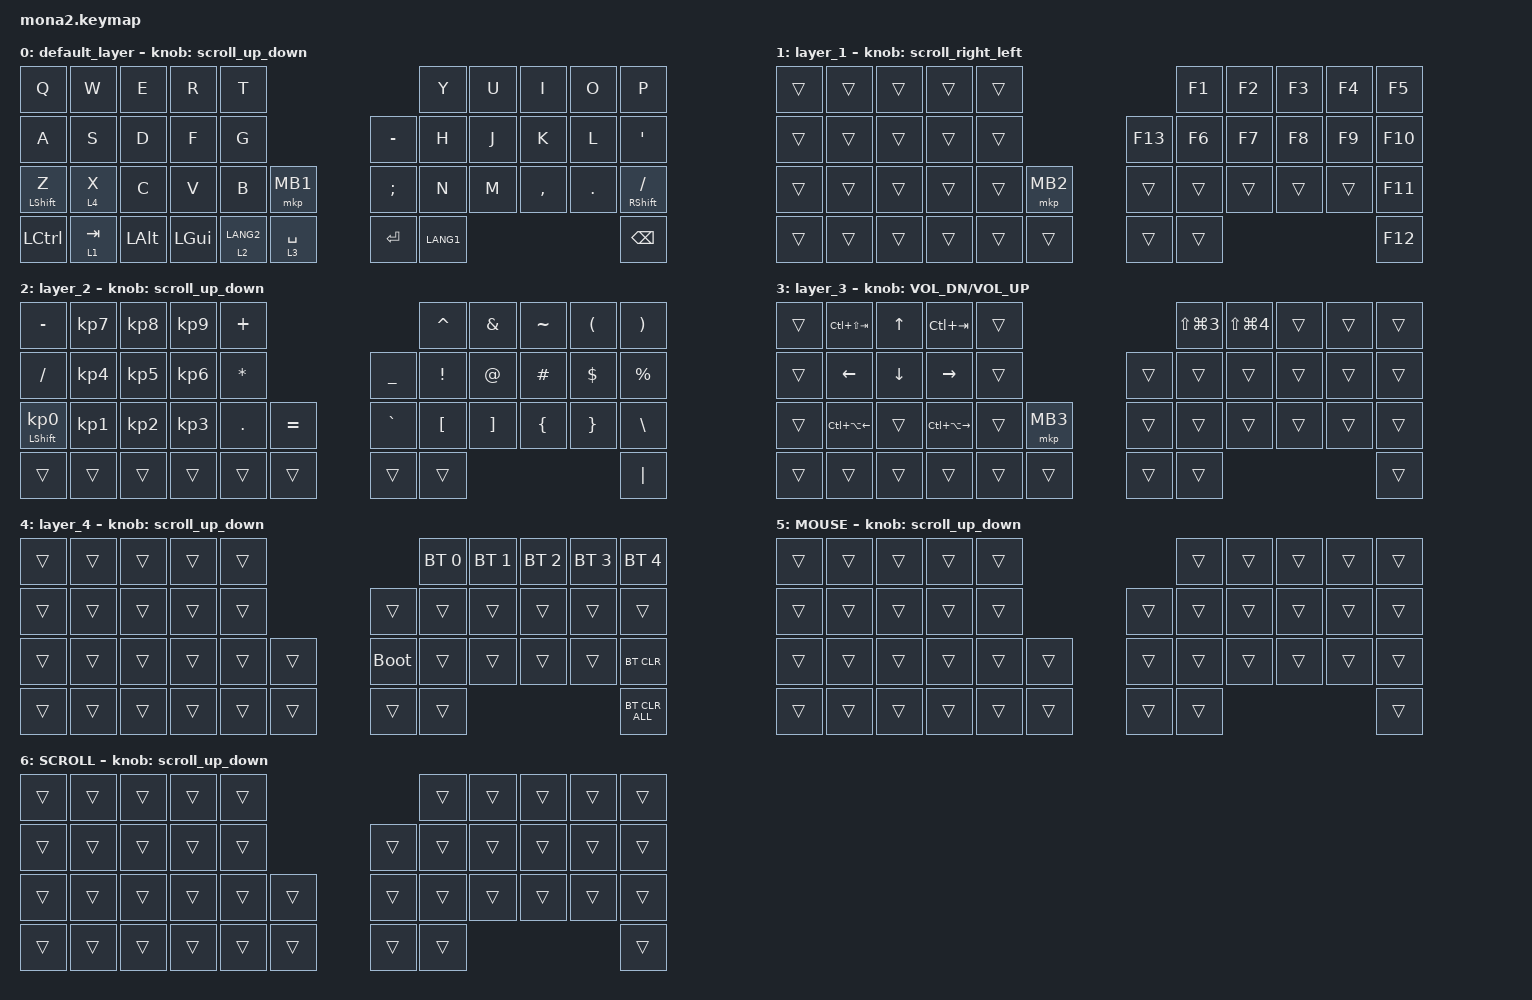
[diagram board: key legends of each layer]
#include <input/processors.dtsi>
#include <dt-bindings/zmk/input_transform.h>
#include <zephyr/dt-bindings/input/input-event-codes.h>
#include <behaviors.dtsi>
#include <dt-bindings/zmk/bt.h>
#include <dt-bindings/zmk/keys.h>
#include <dt-bindings/zmk/pointing.h>

#define ZMK_POINTING_DEFAULT_SCRL_VAL 100
#define MOUSE 5
#define SCROLL 6

&mt {
    flavor = "balanced";
    quick-tap-ms = <0>;
};

&lt {
    quick-tap-ms = <300>;
    flavor = "balanced";
};

/ {
    combos {
        compatible = "zmk,combos";

        layer4_ESC {
            bindings = <&lt 4 ESC>;
            key-positions = <39 38>;
        };

        tab {
            bindings = <&kp TAB>;
            key-positions = <11 12>;
        };
    };

    macros {
        to_layer_0: to_layer_0 {
            compatible = "zmk,behavior-macro-one-param";
            #binding-cells = <1>;
            bindings = <&to 0 &macro_param_1to1 &kp MACRO_PLACEHOLDER>;
            label = "TO_LAYER_0";
        };
    };

    behaviors {
        lt_to_layer_0: lt_to_layer_0 {
            compatible = "zmk,behavior-hold-tap";
            label = "LAYER_TAP_TO_0";
            bindings = <&mo>, <&to_layer_0>;

            #binding-cells = <2>;
            tapping-term-ms = <200>;
        };

        scroll_up_down: mouse_wheel_up_down {
            compatible = "zmk,behavior-sensor-rotate";
            #sensor-binding-cells = <0>;
            bindings = <&msc SCRL_DOWN>, <&msc SCRL_UP>;

            tap-ms = <20>;
        };

        scroll_right_left: mouse_wheel_right_left {
            compatible = "zmk,behavior-sensor-rotate";
            #sensor-binding-cells = <0>;
            bindings = <&msc SCRL_LEFT>, <&msc SCRL_RIGHT>;

            tap-ms = <20>;
        };
    };

    keymap {
        compatible = "zmk,keymap";

        default_layer {
            bindings = <
&kp Q             &kp W      &kp E         &kp R         &kp T                                  &kp Y      &kp U  &kp I      &kp O    &kp P
&kp A             &kp S      &kp D         &kp F         &kp G                       &kp MINUS  &kp H      &kp J  &kp K      &kp L    &kp SQT
&mt LEFT_SHIFT Z  &lt 4 X    &kp C         &kp V         &kp B        &mkp MB1       &kp SEMI   &kp N      &kp M  &kp COMMA  &kp DOT  &mt RIGHT_SHIFT SLASH
&kp LCTRL         &lt 1 TAB  &kp LEFT_ALT  &kp LEFT_GUI  &lt 2 LANG2  &lt 3 SPACE    &kp ENTER  &kp LANG1                             &kp BACKSPACE
            >;

            sensor-bindings = <&scroll_up_down>;
        };

        layer_1 {
            bindings = <
&trans  &trans  &trans  &trans  &trans                       &kp F1  &kp F2  &kp F3  &kp F4  &kp F5
&trans  &trans  &trans  &trans  &trans              &kp F13  &kp F6  &kp F7  &kp F8  &kp F9  &kp F10
&trans  &trans  &trans  &trans  &trans  &mkp MB2    &trans   &trans  &trans  &trans  &trans  &kp F11
&trans  &trans  &trans  &trans  &trans  &trans      &trans   &trans                          &kp F12
            >;

            sensor-bindings = <&scroll_right_left>;
        };

        layer_2 {
            bindings = <
&kp MINUS                   &kp KP_N7        &kp KP_N8        &kp KP_NUMBER_9  &kp PLUS                                   &kp CARET         &kp AMPERSAND      &kp TILDE       &kp LEFT_PARENTHESIS  &kp RIGHT_PARENTHESIS
&kp SLASH                   &kp KP_NUMBER_4  &kp KP_NUMBER_5  &kp KP_NUMBER_6  &kp ASTERISK               &kp UNDERSCORE  &kp EXCLAMATION   &kp AT_SIGN        &kp POUND       &kp DOLLAR            &kp PERCENT
&mt LEFT_SHIFT KP_NUMBER_0  &kp KP_NUMBER_1  &kp KP_NUMBER_2  &kp KP_NUMBER_3  &kp PERIOD    &kp EQUAL    &kp GRAVE       &kp LEFT_BRACKET  &kp RIGHT_BRACKET  &kp LEFT_BRACE  &kp RIGHT_BRACE       &kp BACKSLASH
&trans                      &trans           &trans           &trans           &trans        &trans       &trans          &trans                                                                     &kp PIPE
            >;

            sensor-bindings = <&scroll_up_down>;
        };

        layer_3 {
            bindings = <
&trans  &kp LC(LS(TAB))         &kp UP_ARROW    &kp LC(TAB)              &trans                      &kp LS(LG(NUMBER_3))  &kp LS(LG(NUMBER_4))  &trans  &trans  &trans
&trans  &kp LEFT_ARROW          &kp DOWN_ARROW  &kp RIGHT_ARROW          &trans              &trans  &trans                &trans                &trans  &trans  &trans
&trans  &kp LC(LA(LEFT_ARROW))  &trans          &kp LC(LA(RIGHT_ARROW))  &trans  &mkp MB3    &trans  &trans                &trans                &trans  &trans  &trans
&trans  &trans                  &trans          &trans                   &trans  &trans      &trans  &trans                                                      &trans
            >;

            sensor-bindings = <&inc_dec_kp C_VOL_DN C_VOL_UP>;
        };

        layer_4 {
            bindings = <
&trans  &trans  &trans  &trans  &trans                         &bt BT_SEL 0  &bt BT_SEL 1  &bt BT_SEL 2  &bt BT_SEL 3  &bt BT_SEL 4
&trans  &trans  &trans  &trans  &trans            &trans       &trans        &trans        &trans        &trans        &trans
&trans  &trans  &trans  &trans  &trans  &trans    &bootloader  &trans        &trans        &trans        &trans        &bt BT_CLR
&trans  &trans  &trans  &trans  &trans  &trans    &trans       &trans                                                  &bt BT_CLR_ALL
            >;

            sensor-bindings = <&scroll_up_down>;
        };

        MOUSE {
            bindings = <
&trans  &trans  &trans  &trans  &trans                    &trans  &trans  &trans  &trans  &trans
&trans  &trans  &trans  &trans  &trans            &trans  &trans  &trans  &trans  &trans  &trans
&trans  &trans  &trans  &trans  &trans  &trans    &trans  &trans  &trans  &trans  &trans  &trans
&trans  &trans  &trans  &trans  &trans  &trans    &trans  &trans                          &trans
            >;

            sensor-bindings = <&scroll_up_down>;
        };

        SCROLL {
            bindings = <
&trans  &trans  &trans  &trans  &trans                    &trans  &trans  &trans  &trans  &trans
&trans  &trans  &trans  &trans  &trans            &trans  &trans  &trans  &trans  &trans  &trans
&trans  &trans  &trans  &trans  &trans  &trans    &trans  &trans  &trans  &trans  &trans  &trans
&trans  &trans  &trans  &trans  &trans  &trans    &trans  &trans                          &trans
            >;

            sensor-bindings = <&scroll_up_down>;
        };
    };
};
